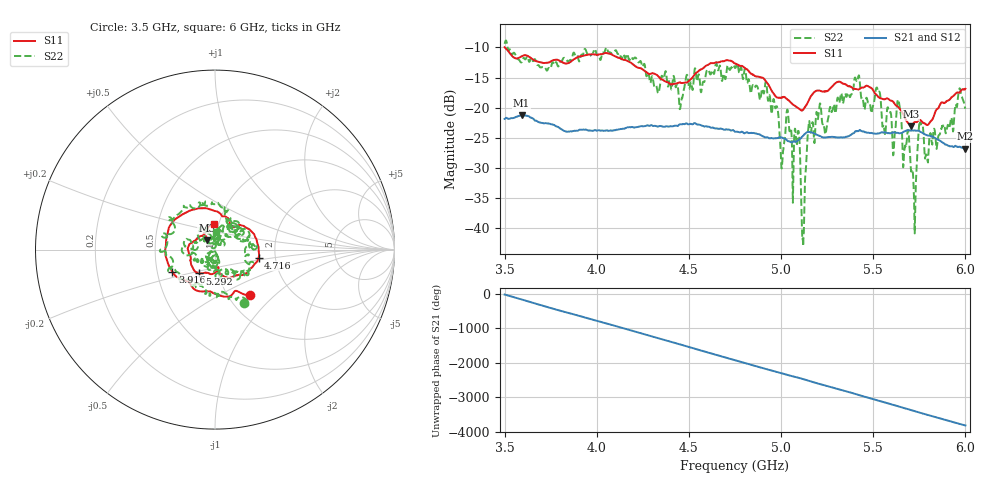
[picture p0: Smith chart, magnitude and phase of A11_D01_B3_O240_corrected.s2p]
! Created with skrf 1.9.0 (http://scikit-rf.org).
# Hz S RI R 50.0
!freq ReS11 ImS11 ReS21 ImS21 ReS12 ImS12 ReS22 ImS22
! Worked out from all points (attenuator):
!   1601 points, 3.5 GHz to 6 GHz, reference 50 ohm
!   highest |S21| = -21.26 dB at 3.592 GHz (marker M1); lowest = -26.8 dB at 6 GHz (marker M2)
!   lowest |S11| = -23.1 dB at 5.703 GHz (marker M3), VSWR 1.15, Z = 45.4 + j4.86 ohm
!   |S11| at or under -10 dB: 3.501 GHz to end of sweep
!   |S22| runs from -43.0 to -8.8 dB; largest |S21 - S12| = 0.0013
!   S11 on the Smith chart (normalised r, x): 3.5 GHz: 1.26, -0.71; 3.916 GHz: 0.60, -0.16; 4.716 GHz: 1.63, -0.15; 5.292 GHz: 0.81, -0.22; 6 GHz: 0.95, +0.28
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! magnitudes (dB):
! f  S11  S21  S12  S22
! 3.5 GHz  -10.0  -21.9  -21.9  -9.4
! 3.592 GHz  -11.5  -21.3  -21.3  -12.5
! 3.916 GHz  -11.5  -23.7  -23.7  -11.3
! 3.917 GHz  -11.5  -23.7  -23.7  -11.2
! 4.334 GHz  -14.8  -23.1  -23.1  -17.6
! 4.716 GHz  -12.2  -23.6  -23.7  -13.3
! 4.75 GHz  -12.7  -24.0  -23.9  -13.4
! 4.969 GHz  -18.1  -25.1  -25.1  -20.1
! 5.005 GHz  -18.3  -24.9  -25.0  -29.7
! 5.088 GHz  -20.0  -25.5  -25.5  -25.4
! 5.119 GHz  -20.4  -24.7  -24.6  -42.2
! 5.144 GHz  -19.2  -24.0  -24.0  -24.8
! 5.167 GHz  -17.9  -24.1  -24.1  -22.9
! 5.292 GHz  -16.0  -24.9  -24.9  -20.5
! 5.412 GHz  -16.9  -23.9  -23.9  -15.6
! 5.584 GHz  -18.6  -24.2  -24.2  -20.4
! 5.639 GHz  -20.0  -24.2  -24.2  -19.0
! 5.703 GHz  -23.1  -23.8  -23.8  -29.7
! 5.723 GHz  -22.4  -23.8  -23.7  -39.0
! 5.758 GHz  -22.1  -24.0  -24.0  -22.8
! 5.789 GHz  -22.8  -24.5  -24.5  -27.9
! 6 GHz  -16.9  -26.8  -26.7  -20.2
